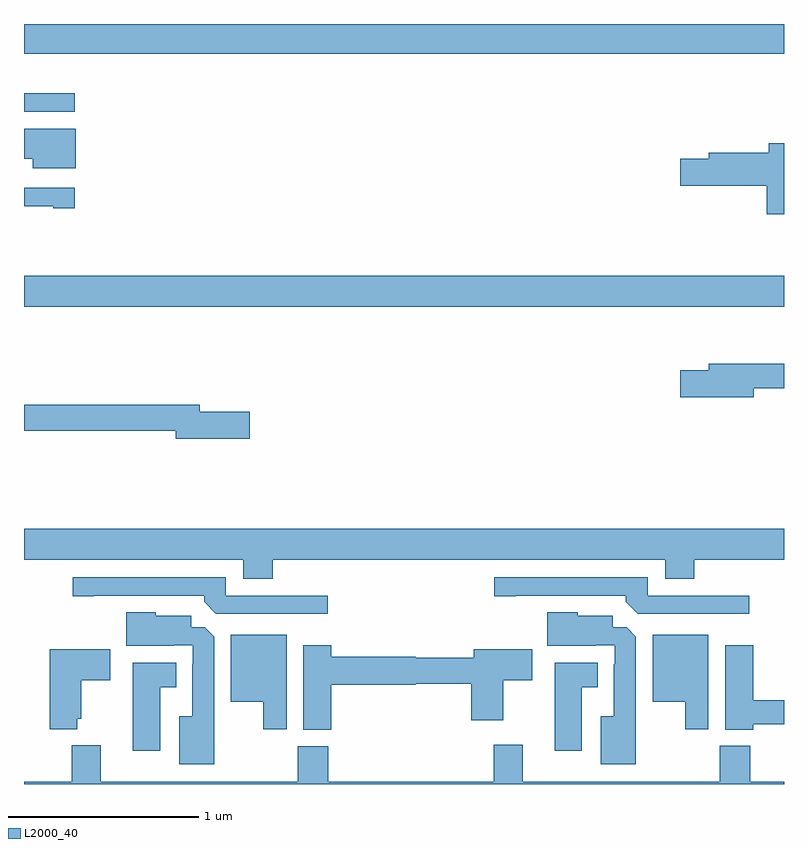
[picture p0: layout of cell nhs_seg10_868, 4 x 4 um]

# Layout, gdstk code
import gdstk
lib = gdstk.Library(unit=1e-6, precision=1e-09)
def R(c, l, rs):  # rectangles x0, y0, x1, y1
    for r in rs: c.add(gdstk.rectangle(r[:2], r[2:], *l))
def P(c, l, *ps):  # polygons
    for p in ps: c.add(gdstk.Polygon(p, *l))
L2000_40 = (2000, 40)

nhs_seg10_868 = lib.new_cell('nhs_seg10_868')
R(nhs_seg10_868, L2000_40, [(155,1271.012,159,1271.176), (155,1272.039,155.266,1272.135), (155,1272.344,159,1272.5)])
P(nhs_seg10_868, L2000_40, [(155.272,1271.95),(155,1271.95),(155,1271.792),(155.045,1271.792),(155.045,1271.741),(155.272,1271.741)],
  [(159,1271.872),(158.921,1271.872),(158.921,1271.822),(158.603,1271.822),(158.603,1271.792),(158.454,1271.792),(158.454,1271.65),(158.909,1271.65),(158.909,1271.499),(159,1271.499)],
  [(155.266,1271.637),(155,1271.637),(155,1271.541),(155.153,1271.541),(155.153,1271.529),(155.266,1271.529)],
  [(158.842,1270.582),(159,1270.582),(159,1270.711),(158.603,1270.711),(158.603,1270.677),(158.454,1270.677),(158.454,1270.535),(158.842,1270.535)],
  [(156.187,1270.46),(155.926,1270.46),(155.926,1270.496),(155,1270.496),(155,1270.36),(155.798,1270.36),(155.798,1270.318),(156.187,1270.318)],
  [(156.308,1269.68),(158.375,1269.68),(158.375,1269.581),(158.528,1269.581),(158.528,1269.68),(159,1269.68),(159,1269.844),(155,1269.844),(155,1269.68),(156.155,1269.68),(156.155,1269.581),(156.308,1269.581)],
  [(156.598,1269.492),(156.063,1269.492),(156.063,1269.588),(155.256,1269.588),(155.256,1269.487),(155.368,1269.487),(155.368,1269.492),(155.948,1269.492),(155.948,1269.458),(156.009,1269.396),(156.598,1269.396)],
  [(158.818,1269.492),(158.283,1269.492),(158.283,1269.588),(157.476,1269.588),(157.476,1269.487),(157.588,1269.487),(157.588,1269.492),(158.168,1269.492),(158.168,1269.458),(158.229,1269.396),(158.818,1269.396)],
  [(156.001,1269.275),(155.952,1269.324),(155.881,1269.324),(155.881,1269.385),(155.694,1269.385),(155.694,1269.403),(155.537,1269.403),(155.537,1269.227),(155.789,1269.227),(155.789,1269.231),(155.889,1269.231),(155.889,1269.131),(155.885,1269.131),(155.885,1268.857),(155.816,1268.857),(155.816,1268.603),(156.001,1268.603)],
  [(158.221,1269.275),(158.172,1269.324),(158.098,1269.324),(158.098,1269.385),(157.914,1269.385),(157.914,1269.403),(157.754,1269.403),(157.754,1269.227),(158.009,1269.227),(158.009,1269.231),(158.109,1269.231),(158.109,1269.131),(158.105,1269.131),(158.105,1268.857),(158.036,1268.857),(158.036,1268.603),(158.221,1268.603)],
  [(156.382,1269.286),(156.089,1269.286),(156.089,1268.933),(156.26,1268.933),(156.26,1268.787),(156.382,1268.787)],
  [(158.602,1269.286),(158.309,1269.286),(158.309,1268.933),(158.48,1268.933),(158.48,1268.787),(158.602,1268.787)],
  [(156.617,1269.023),(157.062,1269.023),(157.062,1269.028),(157.355,1269.028),(157.355,1268.835),(157.522,1268.835),(157.522,1269.046),(157.675,1269.046),(157.675,1269.208),(157.367,1269.208),(157.367,1269.164),(157.062,1269.164),(157.062,1269.17),(156.617,1269.17),(156.617,1269.229),(156.47,1269.229),(156.47,1268.785),(156.617,1268.785)],
  [(158.837,1268.814),(159,1268.814),(159,1268.942),(158.837,1268.942),(158.837,1269.229),(158.69,1269.229),(158.69,1268.786),(158.837,1268.786)],
  [(155.28,1268.843),(155.302,1268.843),(155.302,1269.046),(155.455,1269.046),(155.455,1269.208),(155.135,1269.208),(155.135,1268.789),(155.28,1268.789)],
  [(155.716,1269.008),(155.8,1269.008),(155.8,1269.139),(155.573,1269.139),(155.573,1268.676),(155.716,1268.676)],
  [(157.936,1269.008),(158.02,1269.008),(158.02,1269.139),(157.793,1269.139),(157.793,1268.676),(157.936,1268.676)],
  [(159,1268.512),(158.822,1268.512),(158.822,1268.701),(158.662,1268.701),(158.662,1268.512),(157.624,1268.512),(157.624,1268.707),(157.472,1268.707),(157.472,1268.512),(156.602,1268.512),(156.602,1268.7),(156.442,1268.7),(156.442,1268.512),(155.404,1268.512),(155.404,1268.704),(155.252,1268.704),(155.252,1268.512),(155,1268.512),(155,1268.5),(159,1268.5)])

lib.write_gds('nhs_seg10_868.gds')
